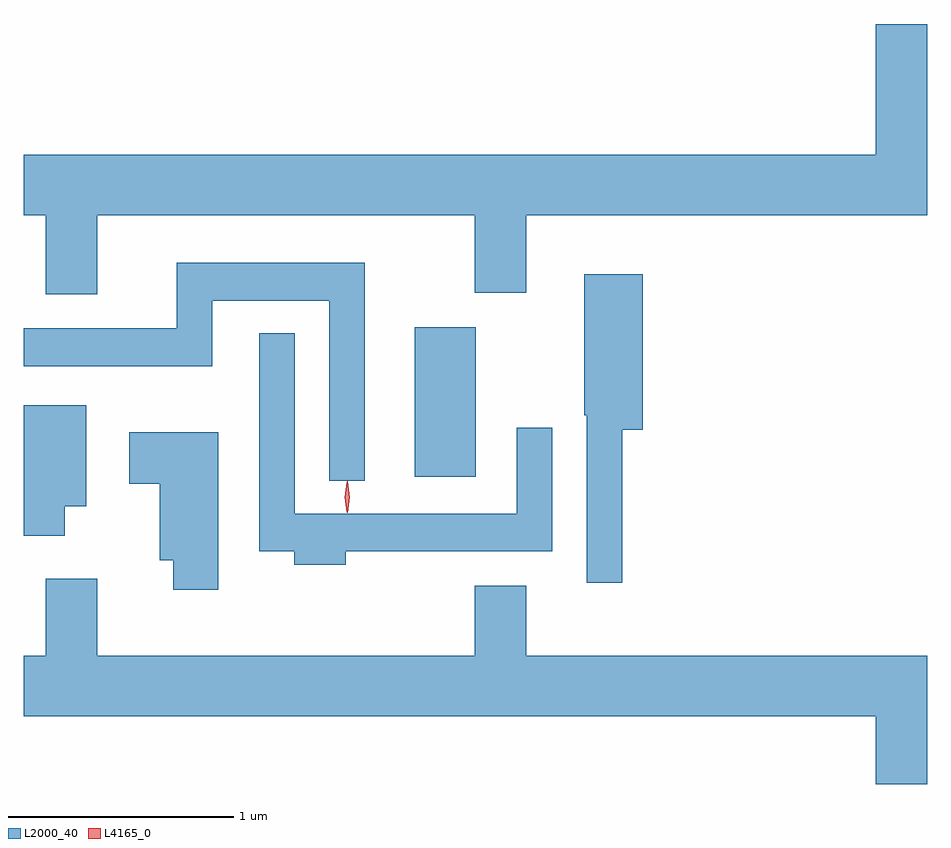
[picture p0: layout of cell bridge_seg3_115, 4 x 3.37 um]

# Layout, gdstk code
import gdstk
lib = gdstk.Library(unit=1e-6, precision=1e-09)
def R(c, l, rs):  # rectangles x0, y0, x1, y1
    for r in rs: c.add(gdstk.rectangle(r[:2], r[2:], *l))
def P(c, l, *ps):  # polygons
    for p in ps: c.add(gdstk.Polygon(p, *l))
L2000_40 = (2000, 40)
L4165_0 = (4165, 0)

bridge_seg3_115 = lib.new_cell('bridge_seg3_115')
R(bridge_seg3_115, L2000_40, [(1072.176,1229.196,1072.444,1229.859)])
P(bridge_seg3_115, L2000_40, [(1070.769,1230.356),(1072.441,1230.356),(1072.441,1230.011),(1072.669,1230.011),(1072.669,1230.356),(1074.444,1230.356),(1074.444,1231.202),(1074.216,1231.202),(1074.216,1230.624),(1070.444,1230.624),(1070.444,1230.356),(1070.541,1230.356),(1070.541,1230.006),(1070.769,1230.006)],
  [(1071.954,1230.144),(1071.121,1230.144),(1071.121,1229.854),(1070.444,1229.854),(1070.444,1229.686),(1071.279,1229.686),(1071.279,1229.976),(1071.796,1229.976),(1071.796,1229.178),(1071.954,1229.178)],
  [(1073.094,1229.406),(1073.184,1229.406),(1073.184,1230.094),(1072.926,1230.094),(1072.926,1229.47),(1072.936,1229.47),(1072.936,1228.728),(1073.094,1228.728)],
  [(1071.869,1228.866),(1072.784,1228.866),(1072.784,1229.413),(1072.626,1229.413),(1072.626,1229.034),(1071.644,1229.034),(1071.644,1229.833),(1071.486,1229.833),(1071.486,1228.866),(1071.641,1228.866),(1071.641,1228.806),(1071.869,1228.806)],
  [(1070.624,1229.066),(1070.719,1229.066),(1070.719,1229.514),(1070.444,1229.514),(1070.444,1228.936),(1070.624,1228.936)],
  [(1071.304,1229.394),(1070.911,1229.394),(1070.911,1229.166),(1071.046,1229.166),(1071.046,1228.826),(1071.106,1228.826),(1071.106,1228.696),(1071.304,1228.696)],
  [(1074.444,1228.404),(1072.669,1228.404),(1072.669,1228.714),(1072.441,1228.714),(1072.441,1228.404),(1070.769,1228.404),(1070.769,1228.744),(1070.541,1228.744),(1070.541,1228.404),(1070.444,1228.404),(1070.444,1228.136),(1074.216,1228.136),(1074.216,1227.836),(1074.444,1227.836)])
P(bridge_seg3_115, L4165_0, [(1071.877,1229.037),(1071.876,1229.038),(1071.867,1229.107),(1071.876,1229.176),(1071.877,1229.176),(1071.878,1229.176),(1071.887,1229.107),(1071.878,1229.038)],
  [(1071.874,1229.04),(1071.874,1229.04),(1071.865,1229.106),(1071.874,1229.172),(1071.875,1229.173),(1071.875,1229.172),(1071.884,1229.106),(1071.875,1229.04)])

lib.write_gds('bridge_seg3_115.gds')
